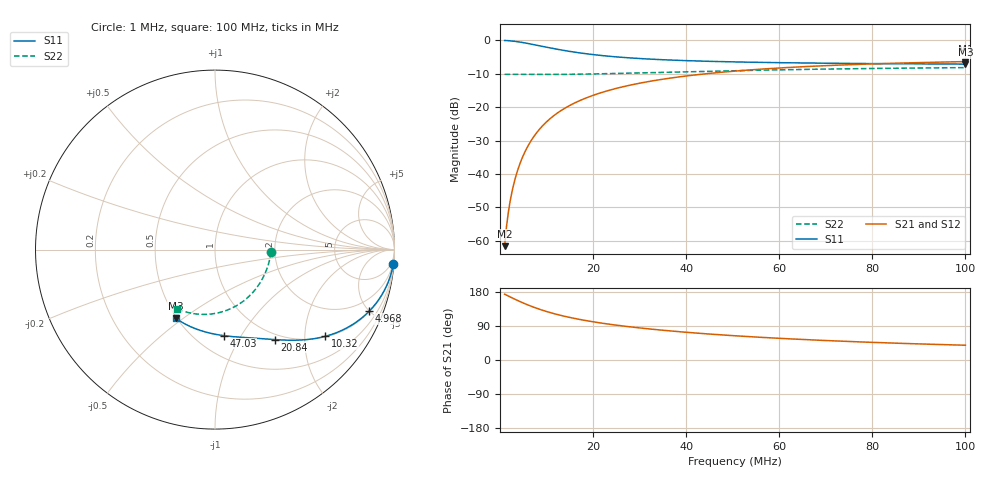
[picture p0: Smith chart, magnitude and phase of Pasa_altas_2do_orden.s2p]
! Created Thu Nov 16 12:00:02 2023
# mhz S ri R 50
! 2 Port Network Data from SP1.SP block
! freq  reS11  imS11  reS21  imS21  reS12  imS12  reS22  imS22
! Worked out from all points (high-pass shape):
!   500 points, 1 MHz to 100 MHz, reference 50 ohm
!   highest |S21| = -6.35 dB at 100 MHz (marker M1); lowest = -61.6 dB at 1 MHz (marker M2)
!   |S21| within 3 dB of the highest: 49.12 MHz to end of sweep
!   lowest |S11| = -7.1 dB at 100 MHz (marker M3), VSWR 2.58, Z = 24.7 - j23.4 ohm
!   |S11| at or under -10 dB: nowhere
!   |S22| runs from -10.2 to -8.2 dB; largest |S21 - S12| = 0
!   S11 on the Smith chart (normalised r, x): 1 MHz: 1, -25; 4.968 MHz: 1.05, -5.01; 10.32 MHz: 1.02, -2.53; 20.84 MHz: 0.92, -1.45; 47.03 MHz: 0.68, -0.84; 100 MHz: 0.49, -0.47
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1  0.9932 -0.0811  -0.000829 9.09e-05  -0.000829 9.09e-05  0.31 -0.0127
1.198397  0.9903 -0.0968  -0.00118 0.000156  -0.00118 0.000156  0.3099 -0.0152
1.59519  0.9829 -0.1278  -0.00208 0.000364  -0.00208 0.000364  0.3095 -0.0202
1.991984  0.9736 -0.1579  -0.00319 0.000699  -0.00319 0.000699  0.3091 -0.0251
2.587174  0.9565 -0.201  -0.00523 0.0015  -0.00523 0.0015  0.3083 -0.0325
3.579158  0.9207 -0.2662  -0.00943 0.00376  -0.00943 0.00376  0.3064 -0.0447
4.174349  0.8959 -0.301  -0.0123 0.00576  -0.0123 0.00576  0.3051 -0.0518
4.967936  0.8601 -0.342  -0.0163 0.00917  -0.0163 0.00917  0.3031 -0.0612
6.158317  0.8033 -0.3921  -0.0223 0.0159  -0.0223 0.0159  0.2997 -0.075
7.348697  0.7461 -0.4298  -0.0279 0.0243  -0.0279 0.0243  0.2957 -0.0883
8.737475  0.682 -0.4607  -0.0333 0.0359  -0.0333 0.0359  0.2907 -0.1034
10.32465  0.615 -0.483  -0.0379 0.0507  -0.0379 0.0507  0.2843 -0.1201
13.69739  0.4976 -0.5026  -0.0412 0.0848  -0.0412 0.0848  0.269 -0.1535
17.66533  0.3964 -0.5045  -0.0354 0.1252  -0.0354 0.1252  0.2482 -0.1897
20.83968  0.3349 -0.5014  -0.0251 0.1554  -0.0251 0.1554  0.2295 -0.2161
26.79158  0.2465 -0.4953  0.00301 0.205  0.00301 0.205  0.1907 -0.2593
34.13226  0.1629 -0.4898  0.0468 0.2525  0.0468 0.2525  0.1388 -0.3007
47.02806  0.0477 -0.4792  0.1306 0.3037  0.1306 0.3037  0.0463 -0.3447
50.5992  0.0204 -0.4751  0.1532 0.3119  0.1532 0.3119  0.022 -0.3514
67.06613  -0.085 -0.4492  0.2467 0.3272  0.2467 0.3272  -0.0776 -0.3609
83.53307  -0.1626 -0.4166  0.3196 0.3197  0.3196 0.3197  -0.1545 -0.3492
100  -0.2193 -0.3826  0.3742 0.3027  0.3742 0.3027  -0.2119 -0.3288
